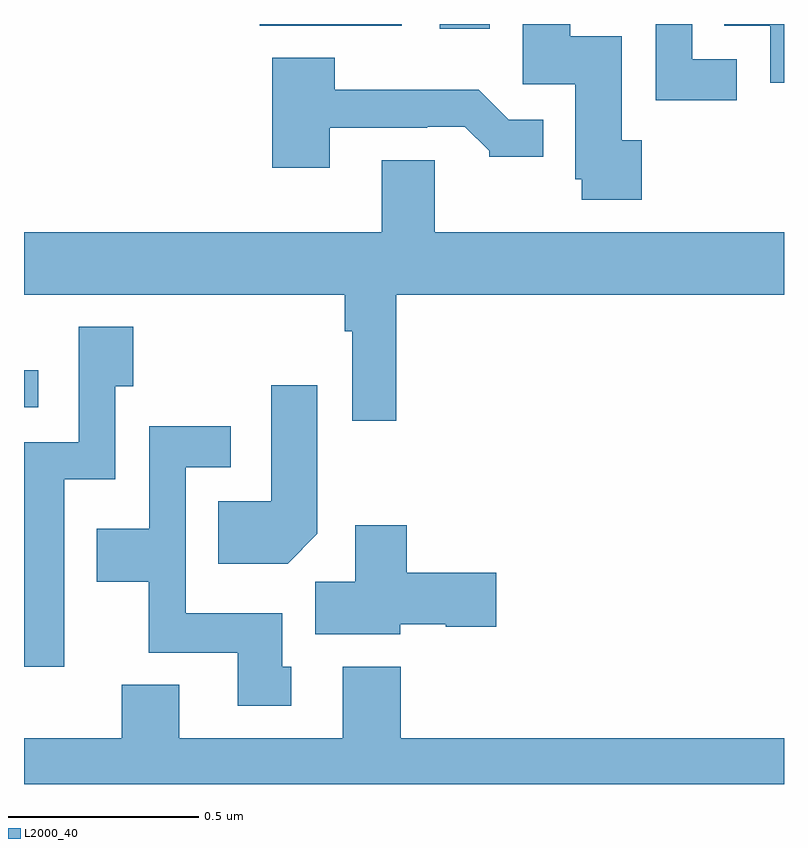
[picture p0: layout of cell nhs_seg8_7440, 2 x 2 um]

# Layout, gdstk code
import gdstk
lib = gdstk.Library(unit=1e-6, precision=1e-09)
def R(c, l, rs):  # rectangles x0, y0, x1, y1
    for r in rs: c.add(gdstk.rectangle(r[:2], r[2:], *l))
def P(c, l, *ps):  # polygons
    for p in ps: c.add(gdstk.Polygon(p, *l))
L2000_40 = (2000, 40)

nhs_seg8_7440 = lib.new_cell('nhs_seg8_7440')
R(nhs_seg8_7440, L2000_40, [(210,1094.892,210.037,1094.989), (211.094,1095.888,211.225,1095.9), (210.621,1095.896,210.994,1095.9)])
P(nhs_seg8_7440, L2000_40, [(211.625,1095.594),(211.573,1095.594),(211.573,1095.868),(211.438,1095.868),(211.438,1095.9),(211.313,1095.9),(211.313,1095.741),(211.451,1095.741),(211.451,1095.492),(211.468,1095.492),(211.468,1095.438),(211.625,1095.438)],
  [(212,1095.9),(211.843,1095.9),(211.843,1095.896),(211.964,1095.896),(211.964,1095.746),(212,1095.746)],
  [(211.876,1095.807),(211.758,1095.807),(211.758,1095.9),(211.662,1095.9),(211.662,1095.699),(211.876,1095.699)],
  [(210.805,1095.627),(211.061,1095.627),(211.061,1095.63),(211.16,1095.63),(211.224,1095.566),(211.224,1095.551),(211.366,1095.551),(211.366,1095.648),(211.275,1095.648),(211.197,1095.727),(210.818,1095.727),(210.818,1095.811),(210.653,1095.811),(210.653,1095.522),(210.805,1095.522)],
  [(210.98,1095.188),(212,1095.188),(212,1095.352),(211.081,1095.352),(211.081,1095.542),(210.941,1095.542),(210.941,1095.352),(210,1095.352),(210,1095.188),(210.844,1095.188),(210.844,1095.092),(210.864,1095.092),(210.864,1094.856),(210.98,1094.856)],
  [(210.106,1094.702),(210.24,1094.702),(210.24,1094.947),(210.288,1094.947),(210.288,1095.103),(210.144,1095.103),(210.144,1094.799),(210,1094.799),(210,1094.208),(210.106,1094.208)],
  [(210.772,1094.558),(210.772,1094.95),(210.65,1094.95),(210.65,1094.644),(210.511,1094.644),(210.511,1094.48),(210.694,1094.48)],
  [(210.703,1094.208),(210.679,1094.208),(210.679,1094.35),(210.426,1094.35),(210.426,1094.733),(210.544,1094.733),(210.544,1094.842),(210.33,1094.842),(210.33,1094.572),(210.191,1094.572),(210.191,1094.432),(210.328,1094.432),(210.328,1094.246),(210.563,1094.246),(210.563,1094.106),(210.703,1094.106)],
  [(210.99,1094.321),(211.11,1094.321),(211.11,1094.314),(211.243,1094.314),(211.243,1094.456),(211.007,1094.456),(211.007,1094.581),(210.872,1094.581),(210.872,1094.432),(210.767,1094.432),(210.767,1094.294),(210.99,1094.294)],
  [(212,1094.02),(210.992,1094.02),(210.992,1094.209),(210.839,1094.209),(210.839,1094.02),(210.409,1094.02),(210.409,1094.161),(210.257,1094.161),(210.257,1094.02),(210,1094.02),(210,1093.9),(212,1093.9)])

lib.write_gds('nhs_seg8_7440.gds')
